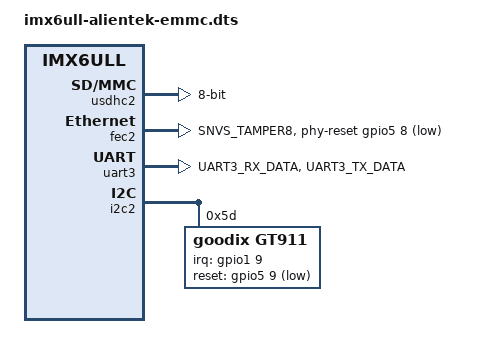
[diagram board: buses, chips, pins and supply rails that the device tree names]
/*
 * Copyright 2019 NXP
 *
 * This program is free software; you can redistribute it and/or
 * modify it under the terms of the GNU General Public License
 * as published by the Free Software Foundation; either version 2
 * of the License, or (at your option) any later version.
 */

#include "imx6ull-14x14-evk.dts"

&usdhc2 {
	pinctrl-names = "default", "state_100mhz", "state_200mhz";
	pinctrl-0 = <&pinctrl_usdhc2_8bit>;
	pinctrl-1 = <&pinctrl_usdhc2_8bit_100mhz>;
	pinctrl-2 = <&pinctrl_usdhc2_8bit_200mhz>;
	bus-width = <8>;
};

/* 配置lcd */
&display0 {
	bits-per-pixel = <24>;
};

&timing0 {
	clock-frequency = <51200000>;
	hactive = <1024>;
	vactive = <600>;
	hfront-porch = <160>;
	hback-porch = <140>;
	hsync-len = <20>;
	vback-porch = <20>;
	vfront-porch = <12>;
	vsync-len = <3>;
};

/* 移除对网络复位引脚的占用 */
&pinctrl_spi4 {
	fsl,pins = <
		MX6UL_PAD_BOOT_MODE0__GPIO5_IO10	0x70a1
		MX6UL_PAD_BOOT_MODE1__GPIO5_IO11	0x70a1
		MX6UL_PAD_SNVS_TAMPER7__GPIO5_IO07	0x70a1 
		/* MX6UL_PAD_SNVS_TAMPER8__GPIO5_IO08	0x80000000 */
	>;
};

/* 移除对网络复位引脚的占用 */
&gpio_spi {
	/delete-property/ enable-gpios;
};

/* 添加复位引脚配置 */
&iomuxc {
	pinctrl_enet2_reset: enet2resetgrp {
		fsl,pins = <MX6ULL_PAD_SNVS_TAMPER8__GPIO5_IO08 0x10B0>;
	};
};

/* fec2使用复位引脚 */
&fec2 {	
	pinctrl-0 = <&pinctrl_enet2 &pinctrl_enet2_reset>;
	phy-reset-gpios = <&gpio5 8 GPIO_ACTIVE_LOW>;
	phy-reset-duration = <200>;
	phy-reset-post-delay = <200>;
};

/* 添加UART3引脚配置 */
&iomuxc {
	pinctrl_uart3: uart3grp {
		fsl,pins = <
			MX6UL_PAD_UART3_RX_DATA__UART3_DCE_RX 0x1b0b1
			MX6UL_PAD_UART3_TX_DATA__UART3_DCE_TX 0x1b0b1
		>;
	};
};

/* 移除uart2对uart3引脚的占用 */
&uart2 {
	/delete-property/ pinctrl-0;
};

/* 添加uart3 */
&uart3 {
	pinctrl-names = "default";
	pinctrl-0 = <&pinctrl_uart3>;
	status = "okay";
};

/* 添加触摸屏中断引脚配置 */
&pinctrl_tsc {
	fsl,pins = <MX6UL_PAD_GPIO1_IO09__GPIO1_IO09 0x79>;
};

/* 添加触摸屏复位引脚配置 */
&iomuxc {
	pinctrl_tsc_reset: tscresetgrp {
		fsl,pins = <MX6ULL_PAD_SNVS_TAMPER9__GPIO5_IO09 0x10B0>;
	};
};

/* 移除对触摸屏复位引脚的占用 */
&pinctrl_usdhc1 {
	fsl,pins = <
		MX6UL_PAD_SD1_CMD__USDHC1_CMD     	0x17059
		MX6UL_PAD_SD1_CLK__USDHC1_CLK		0x10071
		MX6UL_PAD_SD1_DATA0__USDHC1_DATA0 	0x17059
		MX6UL_PAD_SD1_DATA1__USDHC1_DATA1 	0x17059
		MX6UL_PAD_SD1_DATA2__USDHC1_DATA2 	0x17059
		MX6UL_PAD_SD1_DATA3__USDHC1_DATA3 	0x17059
		MX6UL_PAD_UART1_RTS_B__GPIO1_IO19       0x17059 /* SD1 CD */
		MX6UL_PAD_GPIO1_IO05__USDHC1_VSELECT    0x17059 /* SD1 VSELECT */
		/* MX6UL_PAD_GPIO1_IO09__GPIO1_IO09        0x17059 */ /* SD1 RESET */
	>;
};

&reg_sd1_vmmc {
	/delete-property/ gpio;
};

&reg_sd1_vmmc {
	/delete-property/ gpio;
};

/* 移除多余的设备 */
/delete-node/ &tsc;

/* 添加触摸屏 */
&i2c2 {
	gt911: gt911@5d {
		compatible = "goodix,gt911";
		reg = <0x5d>;
		pinctrl-names = "default";
		pinctrl-0 = <&pinctrl_tsc &pinctrl_tsc_reset>;
		interrupt-parent = <&gpio1>;
		interrupts = <9 IRQ_TYPE_NONE>;
		irq-gpios = <&gpio1 9 GPIO_ACTIVE_HIGH>;
		reset-gpios = <&gpio5 9 GPIO_ACTIVE_LOW>;
		status = "okay";
	};
};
